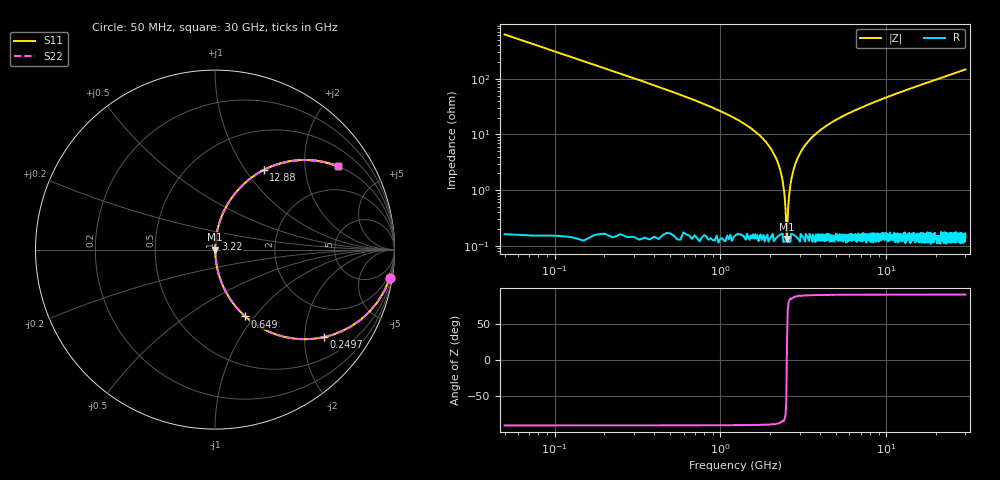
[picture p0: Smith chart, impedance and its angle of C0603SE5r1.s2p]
!	AVX Thin Film Operation 	Date: April 2014
!	Description: Accu-P® Series, Thin Film  SMD RF Capacitor
!	Part Number: 06035J5R1ABSTR
# MHZ S MA R 50
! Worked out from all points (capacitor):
!   1201 points, 50 MHz to 30 GHz, reference 50 ohm
!   read as one part in series: C = 5.1 pF near 199.8 MHz
!   lowest |Z| = 133 mohm at 2.521 GHz (marker M1)
!   series resonance near 2.515 GHz, so ESL is about 780 pH
!   S11 on the Smith chart (normalised r, x): 50 MHz: 1, -12; 249.7 MHz: 1.00, -2.47; 649 MHz: 1.00, -0.90; 3.22 GHz: 1.00, +0.12; 12.88 GHz: 1.00, +1.22; 30 GHz: 1.00, +2.94
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50  0.987 -9.1  0.158 80.9  0.158 80.9  0.987 -9.1
249.667  0.777 -38.9  0.628 51.0  0.628 51.0  0.777 -38.9
449.333  0.557 -56.0  0.829 33.9  0.829 33.9  0.557 -56.0
649  0.409 -65.7  0.911 24.1  0.911 24.1  0.409 -65.7
1098.25  0.224 -76.7  0.973 12.9  0.973 12.9  0.224 -76.7
1971.792  0.061 -85.2  0.997 3.5  0.997 3.5  0.061 -85.2
2221.375  0.031 -85.6  0.998 1.8  0.998 1.8  0.031 -85.6
2421.042  0.009577 -80.9  0.999 0.5  0.999 0.5  0.009577 -80.9
2520.875  0.001518 20.9  0.999 -0.0  0.999 -0.0  0.001518 20.9
2620.708  0.01 81.5  0.999 -0.6  0.999 -0.6  0.01 81.5
2745.5  0.022 85.0  0.998 -1.2  0.998 -1.2  0.022 85.0
2845.333  0.031 85.6  0.998 -1.8  0.998 -1.8  0.031 85.6
3219.708  0.062 85.1  0.997 -3.5  0.997 -3.5  0.062 85.1
3943.5  0.114 82.7  0.992 -6.6  0.992 -6.6  0.114 82.7
5041.667  0.183 79.0  0.982 -10.6  0.982 -10.6  0.183 79.0
7088.25  0.292 72.8  0.955 -17.0  0.955 -17.0  0.292 72.8
10058.29  0.421 64.9  0.906 -24.9  0.906 -24.9  0.421 64.9
12878.58  0.521 58.5  0.852 -31.4  0.852 -31.4  0.521 58.5
15025  0.584 54.2  0.811 -35.7  0.811 -35.7  0.584 54.2
20016.67  0.696 45.8  0.717 -44.1  0.717 -44.1  0.696 45.8
25033.29  0.774 39.3  0.633 -50.7  0.633 -50.7  0.774 39.3
30000  0.826 34.2  0.562 -55.7  0.562 -55.7  0.826 34.2
